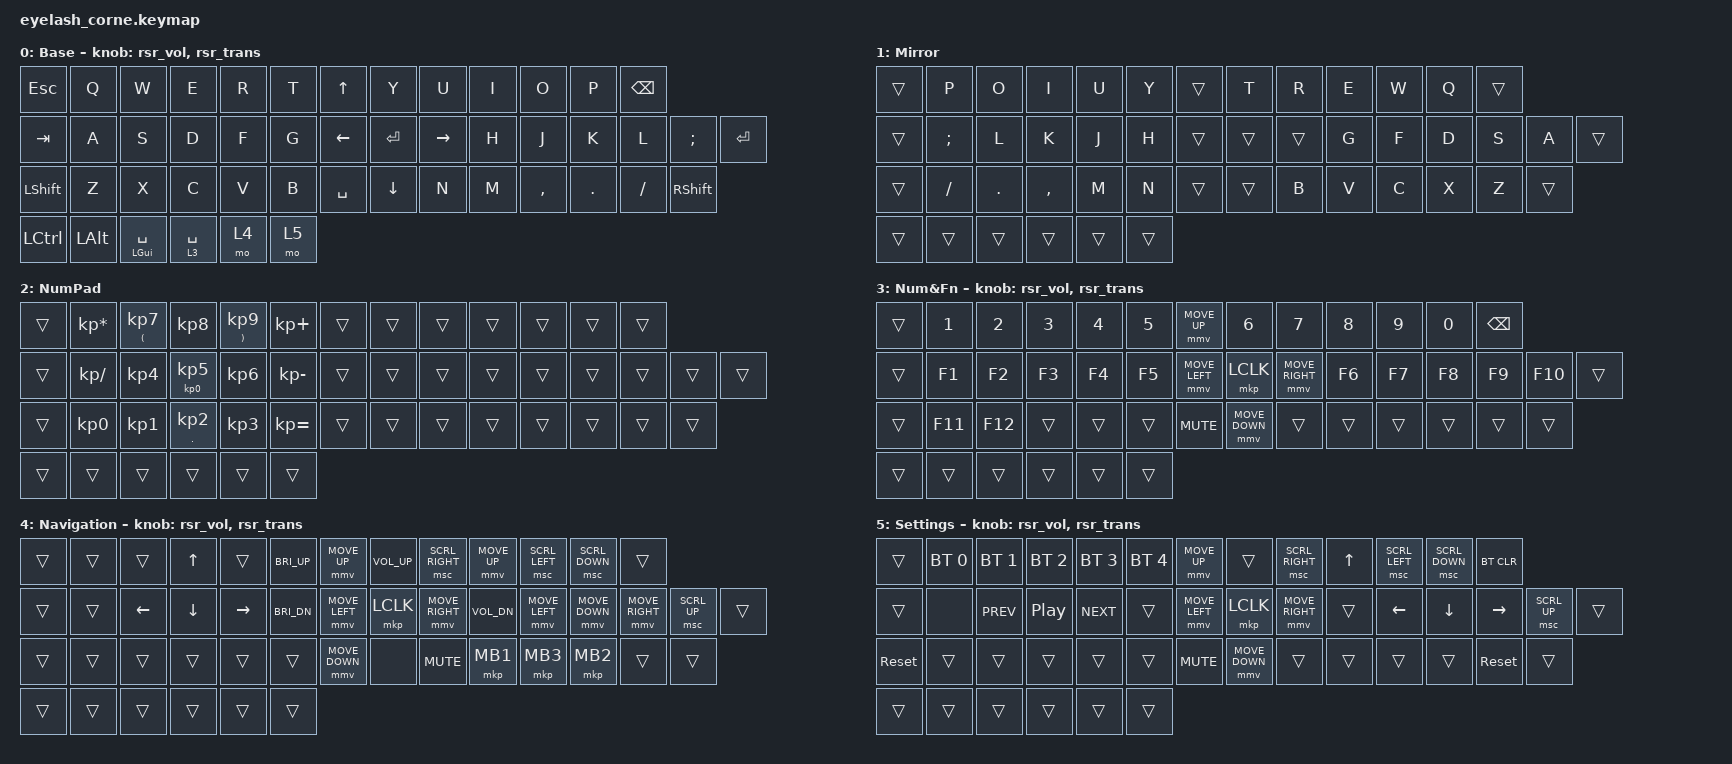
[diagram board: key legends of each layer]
/*
 * Eyelash Corne keymap — ported from a standard 42-key Corne layout.
 *
 * The Eyelash Corne has 48 key slots: the standard 42 Corne keys PLUS
 * 6 center slots reserved for the rotary encoder / mouse dial cluster.
 * Those 6 center slots (indices 6, 19/20/21, 34/35) are LEFT AT THEIR
 * HARDWARE-TUNED bindings on every layer and are NOT overwritten when
 * porting layer content over from the source layout. The rotary encoder
 * behaviours (rsr_vol / rsr_trans) and per-layer sensor-bindings are
 * preserved from the stock firmware.
 *
 * Physical slot map (the bindings arrays follow this order):
 *   Row1:  0  1  2  3  4  5  [6]      7  8  9 10 11 12
 *   Row2: 13 14 15 16 17 18 [19 20 21] 22 23 24 25 26 27
 *   Row3: 28 29 30 31 32 33 [34 35]   36 37 38 39 40 41
 *   Thmb: 42 43 44            45 46 47
 *   [..] = preserved encoder/dial center slots.
 *
 * Layer order mirrors the source keymap so &lt / &mo / &tog indices line
 * up 1:1: base(0), mirror(1), numpad(2), num_fn(3), nav(4), settings(5).
 */

#define ZMK_POINTING_DEFAULT_MOVE_VAL 1000  // hardware-tuned (stock eyelash default 1200 which is crazy fast.)
#define ZMK_POINTING_DEFAULT_SCRL_VAL 19    // hardware-tuned (stock eyelash)
#define COMBO_TERM 25
#define COMBO_IDLE 200
#define SHIFT_HOLD_TERM 240   // ms the caps combo must be held to become caps-lock

#include <input/processors.dtsi>
#include <zephyr/dt-bindings/input/input-event-codes.h>
#include <behaviors/runtime-sensor-rotate.dtsi>
#include <behaviors.dtsi>
#include <dt-bindings/zmk/bt.h>
#include <dt-bindings/zmk/keys.h>
#include <dt-bindings/zmk/pointing.h>

&soft_off {
    hold-time-ms = <2000>;
};

// MOUSE MOVEMENT & SCROLL CONFIGURATION

&mmv {
    acceleration-exponent = <1>;
    time-to-max-speed-ms = <350>;
    delay-ms = <0>;
};

&msc {
    acceleration-exponent = <1>;
    time-to-max-speed-ms = <1000>;
    delay-ms = <0>;
};

/ {
    behaviors {
        // --- Rotary encoder / dial behaviours (stock eyelash, keep these) ---

        rsr_vol: rsr_vol {
            compatible = "zmk,behavior-runtime-sensor-rotate";
            #sensor-binding-cells = <0>;
            tap-ms = <5>;
            cw-binding = <&kp C_VOL_UP>;
            ccw-binding = <&kp C_VOL_DN>;
        };

        rsr_trans: rsr_trans {
            compatible = "zmk,behavior-runtime-sensor-rotate";
            #sensor-binding-cells = <0>;
            tap-ms = <0>;
        };

        // --- Behaviours carried over from the source Corne keymap ---

        /* Thumb key: hold = first parameter, tap = second. */
        cmd_space: cmd_space {
            compatible = "zmk,behavior-hold-tap";
            #binding-cells = <2>;
            flavor = "hold-preferred";
            tapping-term-ms = <60>;
            bindings = <&kp>, <&kp>;
        };

        /* Numpad keys: tap = digit, hold = bracket or period. */
        mt_numpad: mt_numpad {
            compatible = "zmk,behavior-hold-tap";
            #binding-cells = <2>;
            flavor = "tap-preferred";
            quick-tap-ms = <165>;
            tapping-term-ms = <200>;
            bindings = <&kp>, <&kp>;
        };

        /* Caps combos: tap = caps-word, hold = caps-lock. */
        n_shift_ht: new_shift_hold_tap {
            compatible = "zmk,behavior-hold-tap";
            #binding-cells = <2>;
            flavor = "tap-preferred";
            tapping-term-ms = <SHIFT_HOLD_TERM>;
            bindings = <&kp>, <&caps_word_p>;
        };
    };

    macros {
        /* caps_word with an ignored parameter, so it fits a 2-cell hold-tap. */
        caps_word_p: caps_word_p {
            compatible = "zmk,behavior-macro-one-param";
            #binding-cells = <1>;
            wait-ms = <0>;
            tap-ms = <0>;
            bindings = <&caps_word>;
        };
    };

    combos {
        compatible = "zmk,combos";

        /* Hardware soft-off combo (stock eyelash) */

        softoff {
            bindings = <&soft_off>;
            key-positions = <1 15 29>;
        };

        /* --- Top row: adjacent pairs give shifted number-row symbols --- */

        combo_exclamation {
            bindings = <&kp EXCLAMATION>;
            key-positions = <1 0>;
            timeout-ms = <COMBO_TERM>;
            require-prior-idle-ms = <COMBO_IDLE>;
            layers = <0>;
        };

        combo_at {
            bindings = <&kp AT>;
            key-positions = <2 1>;
            timeout-ms = <COMBO_TERM>;
            require-prior-idle-ms = <COMBO_IDLE>;
            layers = <0>;
        };

        combo_hash {
            bindings = <&kp HASH>;
            key-positions = <3 2>;
            timeout-ms = <COMBO_TERM>;
            require-prior-idle-ms = <COMBO_IDLE>;
            layers = <0>;
        };

        combo_dollar {
            bindings = <&kp DOLLAR>;
            key-positions = <4 3>;
            timeout-ms = <COMBO_TERM>;
            require-prior-idle-ms = <COMBO_IDLE>;
            layers = <0>;
        };

        combo_percent {
            bindings = <&kp PERCENT>;
            key-positions = <5 4>;
            timeout-ms = <COMBO_TERM>;
            require-prior-idle-ms = <COMBO_IDLE>;
            layers = <0>;
        };

        combo_caret {
            bindings = <&kp CARET>;
            key-positions = <7 5>;
            timeout-ms = <COMBO_TERM>;
            require-prior-idle-ms = <COMBO_IDLE>;
            layers = <0>;
        };

        combo_ampersand {
            bindings = <&kp AMPERSAND>;
            key-positions = <8 7>;
            timeout-ms = <COMBO_TERM>;
            require-prior-idle-ms = <COMBO_IDLE>;
            layers = <0>;
        };

        combo_asterisk {
            bindings = <&kp ASTERISK>;
            key-positions = <9 8>;
            timeout-ms = <COMBO_TERM>;
            require-prior-idle-ms = <COMBO_IDLE>;
            layers = <0>;
        };

        combo_parentheses_left {
            bindings = <&kp LEFT_PARENTHESIS>;
            key-positions = <9 10>;
            timeout-ms = <COMBO_TERM>;
            require-prior-idle-ms = <COMBO_IDLE>;
            layers = <0>;
        };

        combo_parentheses_right {
            bindings = <&kp RIGHT_PARENTHESIS>;
            key-positions = <10 11>;
            timeout-ms = <COMBO_TERM>;
            require-prior-idle-ms = <COMBO_IDLE>;
            layers = <0>;
        };

        combo_minus {
            bindings = <&kp MINUS>;
            key-positions = <11 12>;
            timeout-ms = <COMBO_TERM>;
            require-prior-idle-ms = <COMBO_IDLE>;
            layers = <0>;
        };

        /* --- Brackets / backslash --- */

        combo_backslash {
            bindings = <&kp BACKSLASH>;
            key-positions = <27 12>;
            layers = <3>;                   // Num&Fn layer only
        };

        combo_brackets_right {
            bindings = <&kp RIGHT_BRACKET>;
            key-positions = <25 26>;
            layers = <0>;
        };

        combo_brackets_left {
            bindings = <&kp LEFT_BRACKET>;
            key-positions = <24 25>;
            layers = <0>;
        };

        /* --- Quotes / grave / equals --- */

        combo_tilde {
            bindings = <&kp GRAVE>;
            key-positions = <0 13>;
            layers = <0>;
        };

        combo_quotes {
            bindings = <&kp SINGLE_QUOTE>;
            key-positions = <27 26>;
            layers = <0>;
        };

        combo_plus_equals {
            bindings = <&kp EQUAL>;
            key-positions = <12 27>;
            layers = <0>;
        };

        /* --- Caps: tap = caps-word, hold = caps-lock --- */

        combo_caps_left {
            bindings = <&n_shift_ht CAPS 0>;
            key-positions = <13 28>;
            timeout-ms = <COMBO_TERM>;
            layers = <0>;
        };

        combo_caps_right {
            bindings = <&n_shift_ht CAPS 0>;
            key-positions = <27 41>;
            timeout-ms = <COMBO_TERM>;
            layers = <0>;
        };

        /* --- Utility keys --- */

        combo_globe {
            bindings = <&kp GLOBE>;
            key-positions = <42 32>;
        };

        combo_del {
            bindings = <&kp BACKSPACE>;
            key-positions = <5 18>;
        };

        combo_enter {
            bindings = <&kp ENTER>;
            key-positions = <18 33>;
        };

        combo_esc {
            bindings = <&kp ESC>;
            key-positions = <7 22>;
        };

        combo_tab {
            bindings = <&kp TAB>;
            key-positions = <36 22>;
        };

        /* --- Layer toggles (three keys together); &to turns every other toggled layer off --- */

        combo_base_on_left {
            bindings = <&to 0>;
            key-positions = <15 16 17>;
            timeout-ms = <COMBO_TERM>;
            require-prior-idle-ms = <COMBO_IDLE>;
            layers = <2 1>;
        };

        combo_mirror_on_left {
            bindings = <&to 1>;
            key-positions = <2 3 4>;
            timeout-ms = <COMBO_TERM>;
            require-prior-idle-ms = <COMBO_IDLE>;
            layers = <0 2>;
        };

        combo_numpad_on_left {
            bindings = <&to 2>;
            key-positions = <30 31 32>;
            timeout-ms = <COMBO_TERM>;
            require-prior-idle-ms = <COMBO_IDLE>;
            layers = <0 1>;
        };

        combo_base_on_right {
            bindings = <&to 0>;
            key-positions = <23 24 25>;
            timeout-ms = <COMBO_TERM>;
            require-prior-idle-ms = <COMBO_IDLE>;
            layers = <2 1>;
        };

        combo_mirror_on_right {
            bindings = <&to 1>;
            key-positions = <8 9 10>;
            timeout-ms = <COMBO_TERM>;
            require-prior-idle-ms = <COMBO_IDLE>;
            layers = <0 2>;
        };

        combo_numpad_on_right {
            bindings = <&to 2>;
            key-positions = <38 39 37>;
            timeout-ms = <COMBO_TERM>;
            require-prior-idle-ms = <COMBO_IDLE>;
            layers = <0 1>;
        };
    };

    keymap {
        compatible = "zmk,keymap";

        /* Layer 0: Base (QWERTY). Centers: UP / LEFT ENTER RIGHT / SPACE DOWN */
        base_layer {
            display-name = "Base";
            bindings = <
                &kp ESC &kp Q &kp W &kp E &kp R &kp T &kp UP &kp Y &kp U &kp I &kp O &kp P &kp BSPC
                &kp TAB &kp A &kp S &kp D &kp F &kp G &kp LEFT &kp ENTER &kp RIGHT &kp H &kp J &kp K &kp L &kp SEMI &kp ENTER
                &kp LSHFT &kp Z &kp X &kp C &kp V &kp B &kp SPACE &kp DOWN &kp N &kp M &kp COMMA &kp DOT &kp FSLH &kp RSHFT
                &kp LCTRL &kp LALT &cmd_space LGUI SPACE &lt 3 SPACE &mo 4 &mo 5
            >;

            sensor-bindings = <&rsr_vol &rsr_trans>;
        };

        /* Layer 1: Mirror (toggle with W + E + R) */
        mirror_layer {
            display-name = "Mirror";
            bindings = <
                &trans &kp P &kp O &kp I &kp U &kp Y &trans &kp T &kp R &kp E &kp W &kp Q &trans
                &trans &kp SEMI &kp L &kp K &kp J &kp H &trans &trans &trans &kp G &kp F &kp D &kp S &kp A &trans
                &trans &kp FSLH &kp DOT &kp COMMA &kp M &kp N &trans &trans &kp B &kp V &kp C &kp X &kp Z &trans
                &trans &trans &trans &trans &trans &trans
            >;
        };

        /* Layer 2: NumPad (toggle with S + D + F). Hold 8 = (  hold 9 = )  hold 5 = . */
        numpad_layer {
            display-name = "NumPad";
            bindings = <
                &trans &kp KP_MULTIPLY &mt_numpad LEFT_PARENTHESIS KP_N7 &kp KP_N8 &mt_numpad RPAR KP_N9 &kp KP_PLUS &trans &trans &trans &trans &trans &trans &trans
                &trans &kp KP_DIVIDE &kp KP_N4 &mt_numpad KP_N0 KP_N5 &kp KP_N6 &kp KP_SUBTRACT &trans &trans &trans &trans &trans &trans &trans &trans &trans
                &trans &kp KP_N0 &kp KP_N1 &mt_numpad DOT KP_N2 &kp KP_N3 &kp KP_EQUAL &trans &trans &trans &trans &trans &trans &trans &trans
                &trans &trans &trans &trans &trans &trans
            >;
        };

        /* Layer 3: Numbers & function keys (hold first right thumb key) */
        num_fn_layer {
            display-name = "Num&Fn";
            bindings = <
                &trans &kp N1 &kp N2 &kp N3 &kp N4 &kp N5 &mmv MOVE_UP &kp N6 &kp N7 &kp N8 &kp N9 &kp N0 &kp BSPC
                &trans &kp F1 &kp F2 &kp F3 &kp F4 &kp F5 &mmv MOVE_LEFT &mkp LCLK &mmv MOVE_RIGHT &kp F6 &kp F7 &kp F8 &kp F9 &kp F10 &trans
                &trans &kp F11 &kp F12 &trans &trans &trans &kp C_MUTE &mmv MOVE_DOWN &trans &trans &trans &trans &trans &trans
                &trans &trans &trans &trans &trans &trans
            >;

            sensor-bindings = <&rsr_vol &rsr_trans>;
        };

        /* Layer 4: Navigation, media and mouse (hold second right thumb key) */
        nav_layer {
            display-name = "Navigation";
            bindings = <
                &trans &trans &trans &kp UP &trans &kp C_BRI_UP &mmv MOVE_UP &kp C_VOL_UP &msc SCRL_RIGHT &mmv MOVE_UP &msc SCRL_LEFT &msc SCRL_DOWN &trans
                &trans &trans &kp LEFT &kp DOWN &kp RIGHT &kp C_BRI_DN &mmv MOVE_LEFT &mkp LCLK &mmv MOVE_RIGHT &kp C_VOL_DN &mmv MOVE_LEFT &mmv MOVE_DOWN &mmv MOVE_RIGHT &msc SCRL_UP &trans
                &trans &trans &trans &trans &trans &trans &mmv MOVE_DOWN &none &kp C_MUTE &mkp MB1 &mkp MB3 &mkp MB2 &trans &trans
                &trans &trans &trans &trans &trans &trans
            >;

            sensor-bindings = <&rsr_vol &rsr_trans>;
        };

        /* Layer 5: Settings (hold third right thumb key) */
        settings_layer {
            display-name = "Settings";
            bindings = <
                &trans &bt BT_SEL 0 &bt BT_SEL 1 &bt BT_SEL 2 &bt BT_SEL 3 &bt BT_SEL 4 &mmv MOVE_UP &trans &msc SCRL_RIGHT &kp UP &msc SCRL_LEFT &msc SCRL_DOWN &bt BT_CLR
                &trans &none &kp C_PREV &kp C_PP &kp C_NEXT &trans &mmv MOVE_LEFT &mkp LCLK &mmv MOVE_RIGHT &trans &kp LEFT &kp DOWN &kp RIGHT &msc SCRL_UP &trans
                &sys_reset &trans &trans &trans &trans &trans &kp C_MUTE &mmv MOVE_DOWN &trans &trans &trans &trans &sys_reset &trans
                &trans &trans &trans &trans &trans &trans
            >;

            sensor-bindings = <&rsr_vol &rsr_trans>;
        };
    };
};
